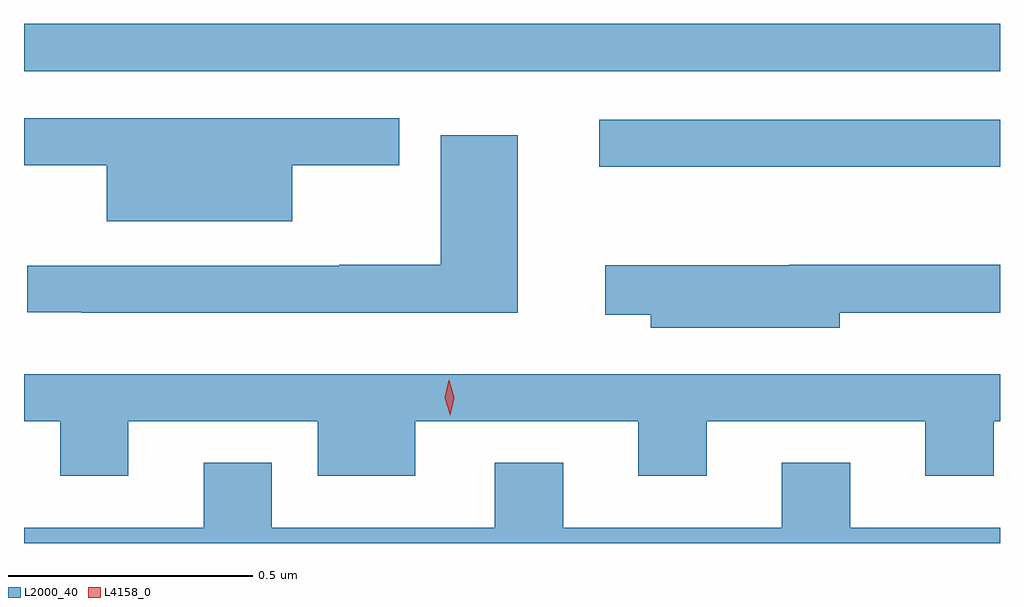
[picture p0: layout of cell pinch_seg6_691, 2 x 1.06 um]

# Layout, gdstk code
import gdstk
lib = gdstk.Library(unit=1e-6, precision=1e-09)
def R(c, l, rs):  # rectangles x0, y0, x1, y1
    for r in rs: c.add(gdstk.rectangle(r[:2], r[2:], *l))
def P(c, l, *ps):  # polygons
    for p in ps: c.add(gdstk.Polygon(p, *l))
L2000_40 = (2000, 40)
L4158_0 = (4158, 0)

pinch_seg6_691 = lib.new_cell('pinch_seg6_691')
R(pinch_seg6_691, L2000_40, [(484.257,916.271,485.078,916.368), (483.078,916.467,485.078,916.564)])
P(pinch_seg6_691, L2000_40, [(483.628,916.274),(483.847,916.274),(483.847,916.371),(483.078,916.371),(483.078,916.274),(483.248,916.274),(483.248,916.16),(483.628,916.16)],
  [(484.09,916.336),(483.932,916.336),(483.932,916.07),(483.724,916.07),(483.724,916.068),(483.085,916.068),(483.085,915.973),(483.196,915.973),(483.196,915.972),(484.09,915.972)],
  [(484.75,915.972),(485.078,915.972),(485.078,916.07),(484.646,916.07),(484.646,916.069),(484.269,916.069),(484.269,915.968),(484.362,915.968),(484.362,915.941),(484.75,915.941)],
  [(483.292,915.75),(483.68,915.75),(483.68,915.638),(483.88,915.638),(483.88,915.75),(484.337,915.75),(484.337,915.638),(484.477,915.638),(484.477,915.75),(484.925,915.75),(484.925,915.638),(485.065,915.638),(485.065,915.75),(485.078,915.75),(485.078,915.846),(483.078,915.846),(483.078,915.75),(483.152,915.75),(483.152,915.638),(483.292,915.638)],
  [(485.078,915.532),(484.771,915.532),(484.771,915.665),(484.631,915.665),(484.631,915.532),(484.183,915.532),(484.183,915.665),(484.043,915.665),(484.043,915.532),(483.586,915.532),(483.586,915.665),(483.446,915.665),(483.446,915.532),(483.078,915.532),(483.078,915.5),(485.078,915.5)])
P(pinch_seg6_691, L4158_0, [(483.951,915.762),(483.951,915.762),(483.94,915.798),(483.948,915.834),(483.949,915.834),(483.949,915.834),(483.96,915.798),(483.951,915.762)])

lib.write_gds('pinch_seg6_691.gds')
